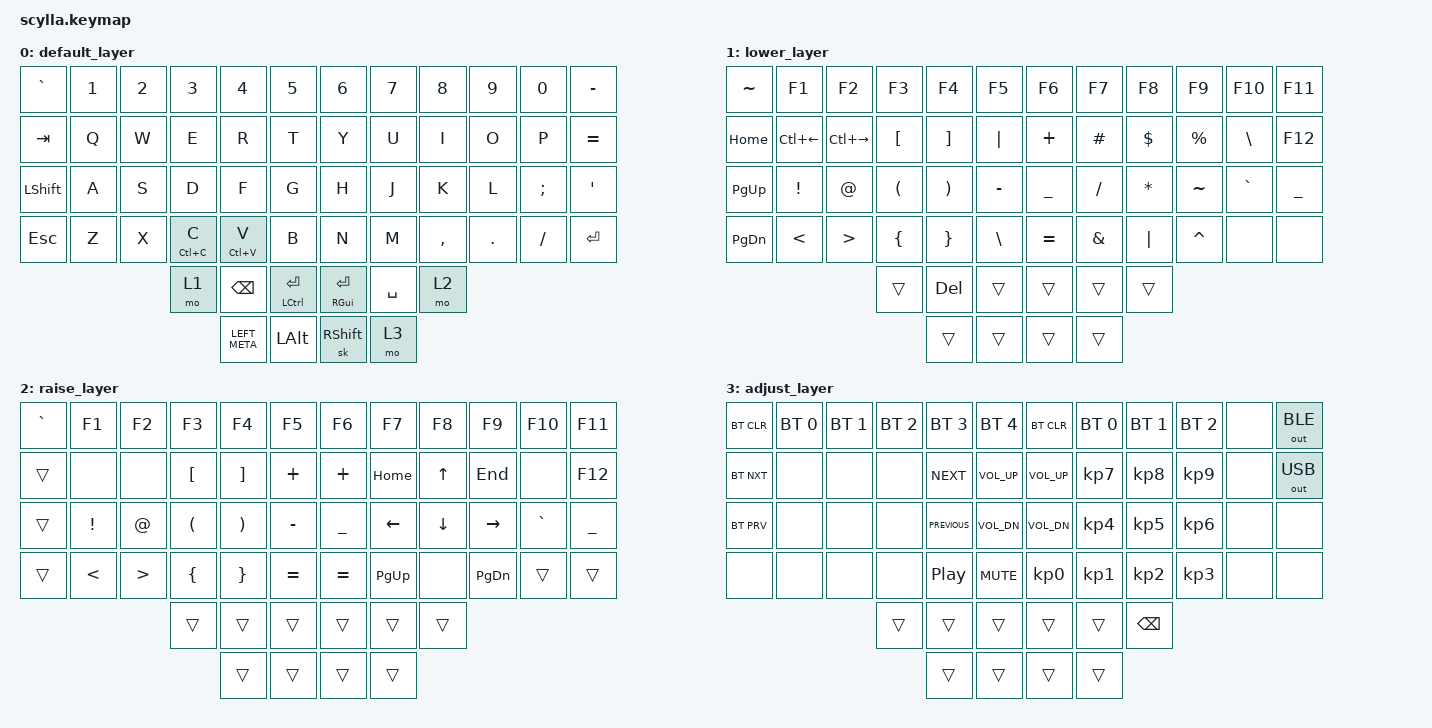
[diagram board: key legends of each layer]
/*
 * Copyright (c) 2022 Christian Eiden
 *
 * SPDX-License-Identifier: MIT
 */

#include <behaviors.dtsi>
#include <dt-bindings/zmk/bt.h>
#include <dt-bindings/zmk/keys.h>
#include <dt-bindings/zmk/outputs.h>

#define DEFAULT 0
#define LOWER   1
#define RAISE   2
#define ADJUST  3
#define BTAB    LS(TAB)
#define RADEL   RAISE DEL
#define LSPC    LSHFT SPACE
#define LENT    LCMD ENTER
#define RENT    RCMD ENTER
#define RSPC    RSHFT SPACE
#define LOBSP   LOWER BSPC

&caps_word { continue-list = <UNDERSCORE MINUS DEL BSPC LSHFT RSHFT>; };

/ {
    // enable ADJUST Layer
    // conditional_layers {
    //     compatible = "zmk,conditional-layers";
    //     tri_layer {
    //         if-layers = <LOWER RAISE>;
    //         then-layer = <ADJUST>;
    //     };
    // };

    behaviors {
        // used for SPACE/SHIFT and ENTER/CMD

        omt: own_mod_tap {
            compatible = "zmk,behavior-hold-tap";
            label = "OWN_MOD_TAP";
            #binding-cells = <2>;
            flavor = "tap-preferred";
            tapping-term-ms = <350>;
            quick-tap-ms = <200>;
            bindings = <&kp>, <&kp>;
        };

        // used for Layers/BSPC/DEL

        olt: own_layer_tap {
            compatible = "zmk,behavior-hold-tap";
            label = "OWN_LAYER_TAP";
            #binding-cells = <2>;
            flavor = "hold-preferred";
            tapping-term-ms = <160>;
            quick-tap-ms = <200>;
            bindings = <&mo>, <&kp>;
        };

        /*
            - tap: sticky shift
            - double-tap: caps-word (shift + tap mod-morph)
            - hold: shift
        From: https://github.com/urob/zmk-config/
        */

        smart_shift: smart_shift {
            label = "SMART_SHIFT";
            compatible = "zmk,behavior-mod-morph";
            bindings = <&sk RIGHT_SHIFT>, <&caps_word>;

            mods = <(MOD_RSFT)>;
            #binding-cells = <0>;
        };

        /*
        - tap: backspace	
        - hold: repeat backspace
        - shift + tap: delete
        - shift + hold: repeat delete
        From: https://zmk.dev/docs/behaviors/mod-morph#advanced-configuration
        */

        bkspc_del: backspace_delete {
            label = "BACKSPACE_DELETE";
            compatible = "zmk,behavior-mod-morph";
            bindings = <&kp BACKSPACE>, <&kp DELETE>;

            mods = <(MOD_LSFT|MOD_RSFT)>;
            #binding-cells = <0>;
        };
    };

    keymap {
        compatible = "zmk,keymap";

        default_layer {
            bindings = <
&kp GRAVE   &kp N1  &kp N2  &kp N3        &kp N4         &kp N5              &kp N6               &kp N7     &kp N8     &kp N9   &kp N0         &kp MINUS
&kp TAB     &kp Q   &kp W   &kp E         &kp R          &kp T               &kp Y                &kp U      &kp I      &kp O    &kp P          &kp EQUAL
&kp LSHIFT  &kp A   &kp S   &kp D         &kp F          &kp G               &kp H                &kp J      &kp K      &kp L    &kp SEMICOLON  &kp SQT
&kp ESCAPE  &kp Z   &kp X   &omt LC(C) C  &omt LC(V) V   &kp B               &kp N                &kp M      &kp COMMA  &kp DOT  &kp SLASH      &kp RETURN
                            &mo 1         &kp BACKSPACE  &mt LCTRL RETURN    &mt RIGHT_GUI ENTER  &kp SPACE  &mo 2
                                          &kp LEFT_META  &kp LALT            &sk RIGHT_SHIFT      &mo 3
            >;
        };

        lower_layer {
            bindings = <
&kp TILDE      &kp F1        &kp F2         &kp F3    &kp F4    &kp F5           &kp F6          &kp F7    &kp F8    &kp F9     &kp F10        &kp F11
&kp HOME       &kp LC(LEFT)  &kp LC(RIGHT)  &kp LBKT  &kp RBKT  &kp PIPE         &kp PLUS        &kp HASH  &kp DLLR  &kp PRCNT  &kp BACKSLASH  &kp F12
&kp PAGE_UP    &kp EXCL      &kp AT         &kp LPAR  &kp RPAR  &kp MINUS        &kp UNDERSCORE  &kp FSLH  &kp STAR  &kp TILDE  &kp GRAVE      &kp UNDER
&kp PAGE_DOWN  &kp LT        &kp GT         &kp LBRC  &kp RBRC  &kp BACKSLASH    &kp EQUAL       &kp AMPS  &kp PIPE  &kp CARET  &none          &none
                                            &trans    &kp DEL   &trans           &trans          &trans    &trans
                                                      &trans    &trans           &trans          &trans
            >;
        };

        raise_layer {
            bindings = <
&kp GRAVE  &kp F1         &kp F2            &kp F3    &kp F4    &kp F5       &kp F6     &kp F7       &kp F8    &kp F9         &kp F10    &kp F11
&trans     &none          &none             &kp LBKT  &kp RBKT  &kp PLUS     &kp PLUS   &kp HOME     &kp UP    &kp END        &none      &kp F12
&trans     &kp EXCL       &kp AT            &kp LPAR  &kp RPAR  &kp MINUS    &kp UNDER  &kp LEFT     &kp DOWN  &kp RIGHT      &kp GRAVE  &kp UNDER
&trans     &kp LESS_THAN  &kp GREATER_THAN  &kp LBRC  &kp RBRC  &kp EQUAL    &kp EQUAL  &kp PAGE_UP  &none     &kp PAGE_DOWN  &trans     &trans
                                            &trans    &trans    &trans       &trans     &trans       &trans
                                                      &trans    &trans       &trans     &trans
            >;
        };

        adjust_layer {
            bindings = <
&bt BT_CLR  &bt BT_SEL 0  &bt BT_SEL 1  &bt BT_SEL 2  &bt BT_SEL 3      &bt BT_SEL 4    &bt BT_CLR       &bt BT_SEL 0     &bt BT_SEL 1     &bt BT_SEL 2     &none  &out OUT_BLE
&bt BT_NXT  &none         &none         &none         &kp C_NEXT        &kp C_VOL_UP    &kp C_VOLUME_UP  &kp KP_NUMBER_7  &kp KP_NUMBER_8  &kp KP_NUMBER_9  &none  &out OUT_USB
&bt BT_PRV  &none         &none         &none         &kp C_PREVIOUS    &kp C_VOL_DN    &kp C_VOL_DN     &kp KP_NUMBER_4  &kp KP_NUMBER_5  &kp KP_NUMBER_6  &none  &none
&none       &none         &none         &none         &kp C_PLAY_PAUSE  &kp C_MUTE      &kp KP_N0        &kp KP_NUMBER_1  &kp KP_NUMBER_2  &kp KP_NUMBER_3  &none  &none
                                        &trans        &trans            &trans          &trans           &trans           &kp BACKSPACE
                                                      &trans            &trans          &trans           &trans
            >;
        };
    };
};
